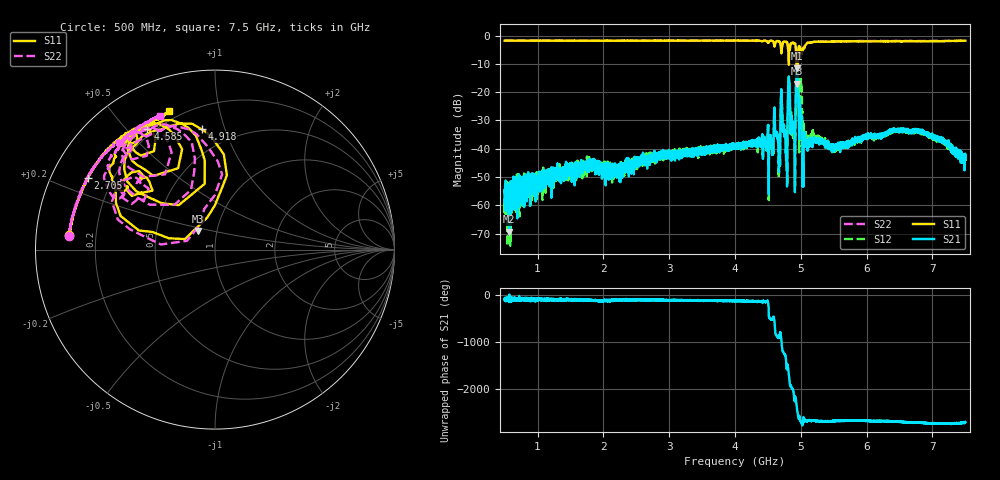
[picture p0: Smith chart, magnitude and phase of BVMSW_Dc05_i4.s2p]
!Keysight Technologies,M9374A,MY55442783,A.12.55.05
!Date: Thursday, May 20, 2021 18:59:37
!Correction: S11(Full 2 Port(1,2))
!S21(Full 2 Port(1,2))
!S12(Full 2 Port(1,2))
!S22(Full 2 Port(1,2))
!S2P File: Measurements: S11, S21, S12, S22:
# Hz S  RI  R 50
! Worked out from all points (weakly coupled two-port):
!   7001 points, 500 MHz to 7.5 GHz, reference 50 ohm
!   highest |S21| = -11.59 dB at 4.943 GHz (marker M1); lowest = -69.4 dB at 572 MHz (marker M2)
!   lowest |S11| = -17.0 dB at 4.946 GHz (marker M3), VSWR 1.33, Z = 40.4 + j8.58 ohm
!   |S11| at or under -10 dB: 4.817657 GHz to 4.819747 GHz (2.09 MHz wide, 0.0434 % of centre); 4.937313 GHz to 4.954052 GHz (16.74 MHz wide, 0.338 % of centre)
!   |S22| runs from -16.4 to -1.7 dB; largest |S21 - S12| = 0.2
!   S11 on the Smith chart (normalised r, x): 500 MHz: 0.10, +0.05; 2.705 GHz: 0.11, +0.26; 4.585 GHz: 0.17, +0.57; 4.918 GHz: 0.34, +0.84; 7.5 GHz: 0.16, +0.71
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5e8  -0.8122 0.0803  -0.00011 -0.00169  0.000447 -0.0012  -0.8139 0.0752
5.72e8  -0.8111 0.09  0.00034 -4.55e-07  -0.000113 -0.00194  -0.814 0.0868
1.667e9  -0.7703 0.2549  -0.00139 -0.00444  -0.00167 -0.0045  -0.7776 0.2379
2.705e9  -0.7077 0.3982  -0.00148 -0.00621  -0.00352 -0.0078  -0.7203 0.3773
2.834e9  -0.7 0.4151  -0.00254 -0.0076  -0.00393 -0.00606  -0.7149 0.3949
4e9  -0.5813 0.5743  -0.00879 -0.00742  -0.0075 -0.00701  -0.6025 0.5443
4.585e9  -0.3762 0.6713  -0.00457 -0.0118  -0.00588 -0.0106  -0.4089 0.6458
4.655e9  -0.4167 0.6826  -0.0128 0.000539  -0.0134 0.00182  -0.446 0.6516
4.723e9  -0.4838 0.5376  -0.0135 -0.0214  -0.00997 -0.0246  -0.5188 0.5202
4.763e9  -0.383 0.686  -0.0174 0.00569  -0.0148 0.0067  -0.4101 0.6572
4.832e9  -0.4381 0.3247  0.0309 -0.0994  0.0263 -0.0959  -0.4794 0.328
4.882e9  -0.3661 0.6467  -0.0205 0.0139  -0.014 0.0125  -0.3971 0.6211
4.918e9  -0.0749 0.6716  0.0343 -0.0075  0.0269 0.00653  -0.1167 0.6537
4.943e9  -0.0113 0.2069  -0.1248 0.2319  -0.0556 0.2969  -0.0617 0.1715
4.946e9  -0.0964 0.1041  0.1074 0.2097  0.0657 0.2868  -0.1049 0.1269
4.977e9  -0.4845 0.4125  0.0252 -0.0313  0.00709 -0.0219  -0.4944 0.3942
5.052e9  -0.4938 0.3331  -0.00865 -0.0162  -0.0112 -0.0106  -0.5319 0.2851
5.167e9  -0.5526 0.515  -0.01 -0.00707  -0.0109 -0.0124  -0.5919 0.4739
5.507e9  -0.4856 0.6211  -0.0093 -0.0051  -0.0104 -0.00365  -0.5314 0.5808
6.334e9  -0.37 0.7019  -0.0181 -0.00696  -0.0173 -0.00812  -0.437 0.6763
6.844e9  -0.3133 0.7287  -0.0189 0.00492  -0.0188 0.00441  -0.3754 0.7097
7.5e9  -0.2543 0.7705  -0.00704 -0.000206  -0.00782 -0.000948  -0.3074 0.7441
